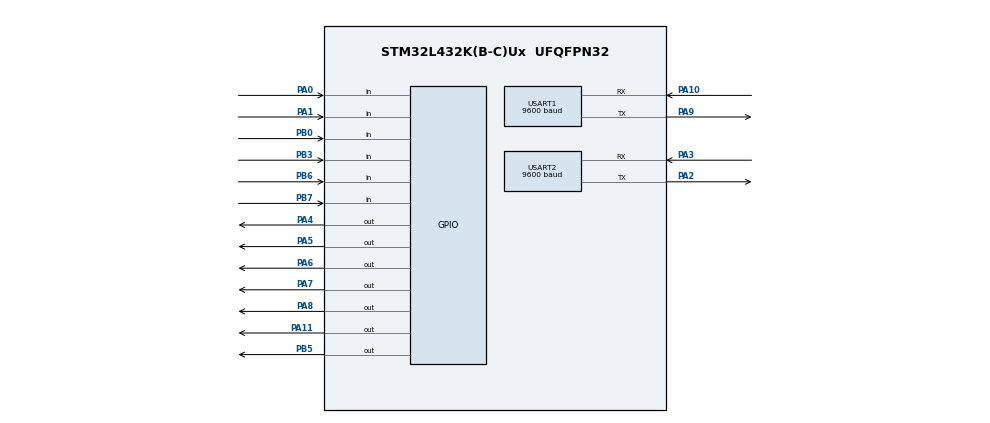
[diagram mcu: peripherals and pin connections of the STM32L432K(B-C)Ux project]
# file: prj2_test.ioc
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Mcu.Family=STM32L4
Mcu.Name=STM32L432K(B-C)Ux
Mcu.Package=UFQFPN32
NVIC.PriorityGroup=NVIC_PRIORITYGROUP_4
NVIC.USART1_IRQn=true\:0\:0\:false\:false\:true\:true
PA0.Signal=GPIO_Input
PA1.Signal=GPIO_Input
PA10.Mode=Asynchronous
PA10.Signal=USART1_RX
PA11.Signal=GPIO_Output
PA13\ (JTMS-SWDIO).Mode=Serial_Wire
PA13\ (JTMS-SWDIO).Signal=SYS_JTMS-SWDIO
PA14\ (JTCK-SWCLK).Mode=Serial_Wire
PA14\ (JTCK-SWCLK).Signal=SYS_JTCK-SWCLK
PA2.Mode=Asynchronous
PA2.Signal=USART2_TX
PA3.Mode=Asynchronous
PA3.Signal=USART2_RX
PA4.Signal=GPIO_Output
PA5.Signal=GPIO_Output
PA6.Signal=GPIO_Output
PA7.Signal=GPIO_Output
PA8.Signal=GPIO_Output
PA9.Mode=Asynchronous
PA9.Signal=USART1_TX
PB0.Signal=GPIO_Input
PB3\ (JTDO-TRACESWO).Signal=GPIO_Input
PB5.Signal=GPIO_Output
PB6.Signal=GPIO_Input
PB7.Signal=GPIO_Input
PC14-OSC32_IN\ (PC14).Mode=LSE-External-Oscillator
PC14-OSC32_IN\ (PC14).Signal=RCC_OSC32_IN
PC15-OSC32_OUT\ (PC15).Mode=LSE-External-Oscillator
PC15-OSC32_OUT\ (PC15).Signal=RCC_OSC32_OUT
ProjectManager.HeapSize=0x200
ProjectManager.StackSize=0x400
ProjectManager.TargetToolchain=MDK-ARM V5
RCC.HSE_VALUE=8000000
RCC.HSI48_VALUE=48000000
RCC.HSI_VALUE=16000000
RCC.MSI_VALUE=4000000
RCC.VCOOutputFreq_Value=32000000
USART1.BaudRate=9600
USART1.VirtualMode-Asynchronous=VM_ASYNC
USART2.BaudRate=9600
USART2.VirtualMode-Asynchronous=VM_ASYNC
board=custom

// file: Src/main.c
/* USER CODE BEGIN Header */
/**
  ******************************************************************************
  * @file           : main.c
  * @brief          : Main program body
  ******************************************************************************
  ** This notice applies to any and all portions of this file
  * that are not between comment pairs USER CODE BEGIN and
  * USER CODE END. Other portions of this file, whether
  * inserted by the user or by software development tools
  * are owned by their respective copyright owners.
  *
  * COPYRIGHT(c) 2021 STMicroelectronics
  *
  * Redistribution and use in source and binary forms, with or without modification,
  * are permitted provided that the following conditions are met:
  *   1. Redistributions of source code must retain the above copyright notice,
  *      this list of conditions and the following disclaimer.
  *   2. Redistributions in binary form must reproduce the above copyright notice,
  *      this list of conditions and the following disclaimer in the documentation
  *      and/or other materials provided with the distribution.
  *   3. Neither the name of STMicroelectronics nor the names of its contributors
  *      may be used to endorse or promote products derived from this software
  *      without specific prior written permission.
  *
  * THIS SOFTWARE IS PROVIDED BY THE COPYRIGHT HOLDERS AND CONTRIBUTORS "AS IS"
  * AND ANY EXPRESS OR IMPLIED WARRANTIES, INCLUDING, BUT NOT LIMITED TO, THE
  * IMPLIED WARRANTIES OF MERCHANTABILITY AND FITNESS FOR A PARTICULAR PURPOSE ARE
  * DISCLAIMED. IN NO EVENT SHALL THE COPYRIGHT HOLDER OR CONTRIBUTORS BE LIABLE
  * FOR ANY DIRECT, INDIRECT, INCIDENTAL, SPECIAL, EXEMPLARY, OR CONSEQUENTIAL
  * DAMAGES (INCLUDING, BUT NOT LIMITED TO, PROCUREMENT OF SUBSTITUTE GOODS OR
  * SERVICES; LOSS OF USE, DATA, OR PROFITS; OR BUSINESS INTERRUPTION) HOWEVER
  * CAUSED AND ON ANY THEORY OF LIABILITY, WHETHER IN CONTRACT, STRICT LIABILITY,
  * OR TORT (INCLUDING NEGLIGENCE OR OTHERWISE) ARISING IN ANY WAY OUT OF THE USE
  * OF THIS SOFTWARE, EVEN IF ADVISED OF THE POSSIBILITY OF SUCH DAMAGE.
  *
  ******************************************************************************
  */
/* USER CODE END Header */

#include "main.h"

/* USER CODE BEGIN Includes */
#include "MY_Keypad4x4.h"
#include "lcd16x2.h"
#include <stdbool.h>
/* USER CODE END Includes */

UART_HandleTypeDef huart1;
UART_HandleTypeDef huart2;

/* USER CODE BEGIN PV */
uint8_t people_msg[18] = {'N', 'u', 'm', 'b', 'e', 'r', ' ', 'o', 'f', ' ', 'P', 'e', 'o', 'p' , 'l', 'e',':', ' '};
uint8_t leds_no_msg[16] = {'N', 'u', 'm', 'b', 'e', 'r', ' ', 'o', 'f', ' ', 'L', 'E', 'D', 's', ':', ' '};
uint8_t enter_limit_msg[20] = {'E', 'n', 't', 'e', 'r', ' ', 'P', 'e', 'o', 'p', 'l', 'e',' ', 'L', 'i', 'm', 'i', 't', '\n', '\r'};
uint8_t done_msg[17] = {'U', 's', 'e', 'r', ' ', 'I', 'n', 'p', 'u', 't', ' ', 'd', 'o' , 'n', 'e', '\n', '\r'};
uint8_t energy_msg[8] = {'E', 'n', 'e', 'r', 'g', 'y', ':', ' '};
uint8_t zeroes[3] = {'0', '0', '0'};
uint8_t buzzer_msg[16] = {'L', 'i', 'm', 'i', 't', ' ', 'E', 'x', 'c', 'e', 'e', 'd', 'e', 'd', ':', ' '};

uint8_t yes[3] = {'Y', 'e', 's'};
uint8_t no[2] = {'N', 'o'};

uint8_t newline[2] = {'\n', '\r'};
uint8_t threshold;
/* USER CODE END PV */

void SystemClock_Config(void);
static void MX_GPIO_Init(void);
static void MX_USART1_UART_Init(void);
static void MX_USART2_UART_Init(void);

/* USER CODE BEGIN 0 */
bool mySwitches[16];
/* USER CODE END 0 */

int main(void)
{
  /* USER CODE BEGIN 1 */
	Keypad_WiresTypeDef myKeypadStruct;
  /* USER CODE END 1 */

  /* MCU Configuration--------------------------------------------------------*/

  /* Reset of all peripherals, Initializes the Flash interface and the Systick. */
  HAL_Init();

  /* Configure the system clock */
  SystemClock_Config();

  /* Initialize all configured peripherals */
  MX_GPIO_Init();
  MX_USART1_UART_Init();
  MX_USART2_UART_Init();
  /* USER CODE BEGIN 2 */

	myKeypadStruct.IN0_Port = GPIOB;
	myKeypadStruct.IN1_Port = GPIOB;
	myKeypadStruct.IN2_Port = GPIOB;
	myKeypadStruct.IN3_Port = GPIOB;

	myKeypadStruct.OUT0_Port = GPIOA;
	myKeypadStruct.OUT1_Port = GPIOA;
	myKeypadStruct.OUT2_Port = GPIOA;
	myKeypadStruct.OUT3_Port = GPIOA;

	myKeypadStruct.IN0pin = GPIO_PIN_3;
	myKeypadStruct.IN1pin = GPIO_PIN_0;
	myKeypadStruct.IN2pin = GPIO_PIN_6;
	myKeypadStruct.IN3pin = GPIO_PIN_7;

	myKeypadStruct.OUT0pin = GPIO_PIN_5;
	myKeypadStruct.OUT1pin = GPIO_PIN_6;
	myKeypadStruct.OUT2pin = GPIO_PIN_7;
	myKeypadStruct.OUT3pin = GPIO_PIN_4;

	Keypad4x4_Init(&myKeypadStruct);

	int bulbsInputted = 0;
	int limitInputted = 0;
	int inputCount = 0;
	int flag = 0;

	lcd16x2_init_4bits(GPIOB, GPIO_PIN_4, GPIO_PIN_5,
	GPIOA, GPIO_PIN_8, GPIO_PIN_11, GPIO_PIN_0, GPIO_PIN_1);

	HAL_UART_Transmit(&huart2, enter_limit_msg, sizeof(enter_limit_msg), HAL_MAX_DELAY);
	uint8_t serverInput[2];
	int noOfPeople;
	int noOfLeds;
	int limit_of_people;
	int thresh_int;
	uint8_t type;
	uint8_t value;
	int packetCountter = 0;

  /* USER CODE END 2 */

  /* Infinite loop */
  while (1)
  {

    /* USER CODE BEGIN 3 */

		if (inputCount == 1) {
			HAL_UART_Transmit(&huart2, newline, sizeof(newline), HAL_MAX_DELAY);
			HAL_UART_Transmit(&huart2, done_msg, sizeof(done_msg), HAL_MAX_DELAY);
			HAL_UART_Transmit(&huart2, newline, sizeof(newline), HAL_MAX_DELAY);
//			HAL_Delay(3000);
			inputCount = inputCount + 1;
		} else if (inputCount == 0) {
			Keypad4x4_ReadKeypad(mySwitches);
			int i=0;
			for (i=0; i<16; i++) {
//				if (inputCount > 0) {
//					break;
//				}
				if (mySwitches[i]) {
					switch (i) {
						case 0: threshold = '1';
	//					HAL_UART_Transmit(&huart1, &threshold, sizeof(threshold), HAL_MAX_DELAY);
						HAL_UART_Transmit(&huart2, &threshold, sizeof(threshold), HAL_MAX_DELAY);
						inputCount = inputCount + 1;
						break;
						case 1: threshold = '2';
	//					HAL_UART_Transmit(&huart1, &threshold, sizeof(threshold), HAL_MAX_DELAY);
						HAL_UART_Transmit(&huart2, &threshold, sizeof(threshold), HAL_MAX_DELAY);
						inputCount = inputCount + 1;
						break;
						case 2: threshold = '3';
	//					HAL_UART_Transmit(&huart1, &threshold, sizeof(threshold), HAL_MAX_DELAY);
						HAL_UART_Transmit(&huart2, &threshold, sizeof(threshold), HAL_MAX_DELAY);
						inputCount = inputCount + 1;
						break;
						case 3: threshold = 'A';
	//					HAL_UART_Transmit(&huart1, &threshold, sizeof(threshold), HAL_MAX_DELAY);
						HAL_UART_Transmit(&huart2, &threshold, sizeof(threshold), HAL_MAX_DELAY);
						inputCount = inputCount + 1;
						break;
						case 4: threshold = '4';
	//					HAL_UART_Transmit(&huart1, &threshold, sizeof(threshold), HAL_MAX_DELAY);
						HAL_UART_Transmit(&huart2, &threshold, sizeof(threshold), HAL_MAX_DELAY);
						inputCount = inputCount + 1;
						break;
						case 5: threshold = '5';
	//					HAL_UART_Transmit(&huart1, &threshold, sizeof(threshold), HAL_MAX_DELAY);
						HAL_UART_Transmit(&huart2, &threshold, sizeof(threshold), HAL_MAX_DELAY);
						inputCount = inputCount + 1;
						break;
						case 6: threshold = '6';
	//					HAL_UART_Transmit(&huart1, &threshold, sizeof(threshold), HAL_MAX_DELAY);
						HAL_UART_Transmit(&huart2, &threshold, sizeof(threshold), HAL_MAX_DELAY);
						inputCount = inputCount + 1;
						break;
						case 7: threshold = 'B';
	//					HAL_UART_Transmit(&huart1, &threshold, sizeof(threshold), HAL_MAX_DELAY);
						HAL_UART_Transmit(&huart2, &threshold, sizeof(threshold), HAL_MAX_DELAY);
						inputCount = inputCount + 1;
						break;
						case 8: threshold = '7';
						break;
						case 9: threshold = '8';
						break;
						case 10: threshold = '9';
	//					HAL_UART_Transmit(&huart1, &threshold, sizeof(threshold), HAL_MAX_DELAY);
						HAL_UART_Transmit(&huart2, &threshold, sizeof(threshold), HAL_MAX_DELAY);
						inputCount = inputCount + 1;
						break;
						case 11: threshold = 'C';
	//					HAL_UART_Transmit(&huart1, &threshold, sizeof(threshold), HAL_MAX_DELAY);
						HAL_UART_Transmit(&huart2, &threshold, sizeof(threshold), HAL_MAX_DELAY);
						inputCount = inputCount + 1;
						break;
						case 12: threshold = NULL; // '*'
						break;
						case 13: threshold = '0';
						break;
						case 14: threshold = '#';
						HAL_UART_Transmit(&huart2, &threshold, sizeof(threshold), HAL_MAX_DELAY);
						inputCount = inputCount + 1;
						break;
						default: threshold = 'D';
						HAL_UART_Transmit(&huart2, &threshold, sizeof(threshold), HAL_MAX_DELAY);
						inputCount = inputCount + 1;
					}
				}
			}
		} else if (inputCount > 1){

			HAL_UART_Receive(&huart1, &type, 1, HAL_MAX_DELAY);
			HAL_UART_Receive(&huart1, &value, 1, HAL_MAX_DELAY);
			packetCountter = packetCountter + 1;

			if (type == 'P') { // people
				noOfPeople = value - '0';
				thresh_int = threshold - '0';

				HAL_UART_Transmit(&huart2, people_msg, sizeof(people_msg), HAL_MAX_DELAY);
				HAL_UART_Transmit(&huart2, &value, 1, HAL_MAX_DELAY);
				HAL_UART_Transmit(&huart2, newline, sizeof(newline), HAL_MAX_DELAY);

				if (noOfPeople >= thresh_int) {
					// buzzer on
					HAL_GPIO_WritePin(GPIOA, GPIO_PIN_8, 1);
				} else {
					HAL_GPIO_WritePin(GPIOA, GPIO_PIN_8, 0);
				}

			} else if (type == 'L') { // leds
				noOfLeds = serverInput[1];
				if (value >= 0x30 && value <= 0x39) {
					HAL_UART_Transmit(&huart2, leds_no_msg, sizeof(leds_no_msg), HAL_MAX_DELAY);
					HAL_UART_Transmit(&huart2, &value, 1, HAL_MAX_DELAY);
					HAL_UART_Transmit(&huart2, newline, sizeof(newline), HAL_MAX_DELAY);
				}
			}
		}

		//HAL_UART_Transmit(&huart1, &threshold, sizeof(threshold), HAL_MAX_DELAY);
		// Keypad4x4_ReadKeypad(mySwitches);

//		HAL_Delay(100);

//		uint8_t buffer;
//		HAL_UART_Transmit(&huart2, &buffer, sizeof(buffer), HAL_MAX_DELAY);
  }
  /* USER CODE END 3 */
}

void SystemClock_Config(void)
{
  RCC_OscInitTypeDef RCC_OscInitStruct = {0};
  RCC_ClkInitTypeDef RCC_ClkInitStruct = {0};
  RCC_PeriphCLKInitTypeDef PeriphClkInit = {0};

  /**Configure LSE Drive Capability
  */
  HAL_PWR_EnableBkUpAccess();
  __HAL_RCC_LSEDRIVE_CONFIG(RCC_LSEDRIVE_LOW);
  /**Initializes the CPU, AHB and APB busses clocks
  */
  RCC_OscInitStruct.OscillatorType = RCC_OSCILLATORTYPE_LSE|RCC_OSCILLATORTYPE_MSI;
  RCC_OscInitStruct.LSEState = RCC_LSE_ON;
  RCC_OscInitStruct.MSIState = RCC_MSI_ON;
  RCC_OscInitStruct.MSICalibrationValue = 0;
  RCC_OscInitStruct.MSIClockRange = RCC_MSIRANGE_6;
  RCC_OscInitStruct.PLL.PLLState = RCC_PLL_NONE;
  if (HAL_RCC_OscConfig(&RCC_OscInitStruct) != HAL_OK)
  {
    Error_Handler();
  }
  /**Initializes the CPU, AHB and APB busses clocks
  */
  RCC_ClkInitStruct.ClockType = RCC_CLOCKTYPE_HCLK|RCC_CLOCKTYPE_SYSCLK
                              |RCC_CLOCKTYPE_PCLK1|RCC_CLOCKTYPE_PCLK2;
  RCC_ClkInitStruct.SYSCLKSource = RCC_SYSCLKSOURCE_MSI;
  RCC_ClkInitStruct.AHBCLKDivider = RCC_SYSCLK_DIV1;
  RCC_ClkInitStruct.APB1CLKDivider = RCC_HCLK_DIV1;
  RCC_ClkInitStruct.APB2CLKDivider = RCC_HCLK_DIV1;

  if (HAL_RCC_ClockConfig(&RCC_ClkInitStruct, FLASH_LATENCY_0) != HAL_OK)
  {
    Error_Handler();
  }
  PeriphClkInit.PeriphClockSelection = RCC_PERIPHCLK_USART1|RCC_PERIPHCLK_USART2;
  PeriphClkInit.Usart1ClockSelection = RCC_USART1CLKSOURCE_PCLK2;
  PeriphClkInit.Usart2ClockSelection = RCC_USART2CLKSOURCE_PCLK1;
  if (HAL_RCCEx_PeriphCLKConfig(&PeriphClkInit) != HAL_OK)
  {
    Error_Handler();
  }
  /**Configure the main internal regulator output voltage
  */
  if (HAL_PWREx_ControlVoltageScaling(PWR_REGULATOR_VOLTAGE_SCALE1) != HAL_OK)
  {
    Error_Handler();
  }
  /**Enable MSI Auto calibration
  */
  HAL_RCCEx_EnableMSIPLLMode();
}

static void MX_USART1_UART_Init(void)
{

  huart1.Instance = USART1;
  huart1.Init.BaudRate = 115200;
  huart1.Init.WordLength = UART_WORDLENGTH_8B;
  huart1.Init.StopBits = UART_STOPBITS_1;
  huart1.Init.Parity = UART_PARITY_NONE;
  huart1.Init.Mode = UART_MODE_TX_RX;
  huart1.Init.HwFlowCtl = UART_HWCONTROL_NONE;
  huart1.Init.OverSampling = UART_OVERSAMPLING_16;
  huart1.Init.OneBitSampling = UART_ONE_BIT_SAMPLE_DISABLE;
  huart1.AdvancedInit.AdvFeatureInit = UART_ADVFEATURE_NO_INIT;
  if (HAL_UART_Init(&huart1) != HAL_OK)
  {
    Error_Handler();
  }

}

static void MX_USART2_UART_Init(void)
{

  huart2.Instance = USART2;
  huart2.Init.BaudRate = 115200;
  huart2.Init.WordLength = UART_WORDLENGTH_8B;
  huart2.Init.StopBits = UART_STOPBITS_1;
  huart2.Init.Parity = UART_PARITY_NONE;
  huart2.Init.Mode = UART_MODE_TX_RX;
  huart2.Init.HwFlowCtl = UART_HWCONTROL_NONE;
  huart2.Init.OverSampling = UART_OVERSAMPLING_16;
  huart2.Init.OneBitSampling = UART_ONE_BIT_SAMPLE_DISABLE;
  huart2.AdvancedInit.AdvFeatureInit = UART_ADVFEATURE_NO_INIT;
  if (HAL_UART_Init(&huart2) != HAL_OK)
  {
    Error_Handler();
  }

}

static void MX_GPIO_Init(void)
{
  GPIO_InitTypeDef GPIO_InitStruct = {0};

  /* GPIO Ports Clock Enable */
  __HAL_RCC_GPIOC_CLK_ENABLE();
  __HAL_RCC_GPIOA_CLK_ENABLE();
  __HAL_RCC_GPIOB_CLK_ENABLE();

  /*Configure GPIO pin Output Level */
  HAL_GPIO_WritePin(GPIOA, GPIO_PIN_4|GPIO_PIN_5|GPIO_PIN_6|GPIO_PIN_7
                          |GPIO_PIN_8|GPIO_PIN_11, GPIO_PIN_RESET);

  /*Configure GPIO pin Output Level */
  HAL_GPIO_WritePin(GPIOB, GPIO_PIN_5, GPIO_PIN_RESET);

  /*Configure GPIO pins : PA0 PA1 */
  GPIO_InitStruct.Pin = GPIO_PIN_0|GPIO_PIN_1;
  GPIO_InitStruct.Mode = GPIO_MODE_INPUT;
  GPIO_InitStruct.Pull = GPIO_NOPULL;
  HAL_GPIO_Init(GPIOA, &GPIO_InitStruct);

  /*Configure GPIO pins : PA4 PA5 PA6 PA7
                           PA8 PA11 */
  GPIO_InitStruct.Pin = GPIO_PIN_4|GPIO_PIN_5|GPIO_PIN_6|GPIO_PIN_7
                          |GPIO_PIN_8|GPIO_PIN_11;
  GPIO_InitStruct.Mode = GPIO_MODE_OUTPUT_PP;
  GPIO_InitStruct.Pull = GPIO_NOPULL;
  GPIO_InitStruct.Speed = GPIO_SPEED_FREQ_LOW;
  HAL_GPIO_Init(GPIOA, &GPIO_InitStruct);

  /*Configure GPIO pins : PB0 PB3 PB6 PB7 */
  GPIO_InitStruct.Pin = GPIO_PIN_0|GPIO_PIN_3|GPIO_PIN_6|GPIO_PIN_7;
  GPIO_InitStruct.Mode = GPIO_MODE_INPUT;
  GPIO_InitStruct.Pull = GPIO_NOPULL;
  HAL_GPIO_Init(GPIOB, &GPIO_InitStruct);

  /*Configure GPIO pin : PB5 */
  GPIO_InitStruct.Pin = GPIO_PIN_5;
  GPIO_InitStruct.Mode = GPIO_MODE_OUTPUT_PP;
  GPIO_InitStruct.Pull = GPIO_NOPULL;
  GPIO_InitStruct.Speed = GPIO_SPEED_FREQ_LOW;
  HAL_GPIO_Init(GPIOB, &GPIO_InitStruct);

}

void Error_Handler(void)
{
}

/************************ (C) COPYRIGHT STMicroelectronics *****END OF FILE****/
